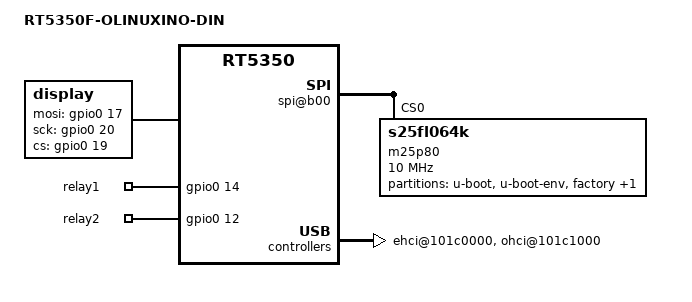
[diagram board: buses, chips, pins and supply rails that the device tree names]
/dts-v1/;

/include/ "rt5350.dtsi"

/ {
        compatible = "RT5350F-OLINUXINO", "ralink,rt5350-soc";
        model = "RT5350F-OLINUXINO-DIN";

        palmbus@10000000 {
                spi@b00 {
                        status = "okay";
                        m25p80@0 {
                                #address-cells = <1>;
                                #size-cells = <1>;
                                compatible = "s25fl064k";
                                reg = <0 0>;
                                linux,modalias = "m25p80", "s25fl064k";
                                spi-max-frequency = <10000000>;

                                partition@0 {
                                        label = "u-boot";
                                        reg = <0x0 0x30000>;
                                        read-only;
                                };

                                partition@30000 {
                                        label = "u-boot-env";
                                        reg = <0x30000 0x10000>;
                                        read-only;
                                };

                                factory: partition@40000 {
                                        label = "factory";
                                        reg = <0x40000 0x10000>;
                                        read-only;
                                };

                                partition@50000 {
                                        label = "firmware";
                                        reg = <0x50000 0x3b0000>;
                                };
                        };
                };
                gpio1: gpio@660 {
                        status = "okay";
                };
        };

        pinctrl {
                state_default: pinctrl0 {
                        gpio {
                                ralink,group = "jtag", "rgmii", "mdio", "uartf";
                                ralink,function = "gpio";
                        };
                };
        };

        ethernet@10100000 {
                mtd-mac-address = <&factory 0x4>;
        };

        esw@10110000 {
                ralink,portmap = <0x2f>;
                ralink,led_polarity = <0x17>;
        };

        wmac@10180000 {
                ralink,mtd-eeprom = <&factory 0>;
                ralink,led-polarity = <1>;
        };

        ehci@101c0000 {
                status = "okay";
        };

        ohci@101c1000 {
                status = "okay";
        };

        display {
            compatible = "display";
            display,mosi = <&gpio0 17 0>;
            display,sck = <&gpio0 20 0>;
            display,cs = <&gpio0 19 0>;
        };

        gpio_export {
                compatible = "gpio-export";
                #size-cells = <0>;

                relay1 {
                        gpio-export,name = "relay1";
                        gpio-export,output = <0>;
                        gpios = <&gpio0 14 0>;
                };

                relay2 {
                        gpio-export,name = "relay2";
                        gpio-export,output = <0>;
                        gpios = <&gpio0 12 0>;
                };

        };
};
